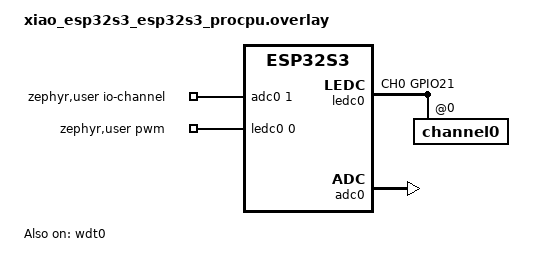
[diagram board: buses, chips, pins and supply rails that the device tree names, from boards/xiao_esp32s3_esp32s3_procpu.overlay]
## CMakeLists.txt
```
# SPDX-License-Identifier: Apache-2.0
cmake_minimum_required(VERSION 3.20.0)
find_package(Zephyr REQUIRED HINTS $ENV{ZEPHYR_BASE})
project(inputdemo)

target_sources(app PRIVATE src/main.c)
```

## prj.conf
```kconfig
# SPDX-License-Identifier: Apache-2.0
# inputdemo（单元 F：G3 + D4/D6 输入 demo）：ADC 真值 → input monitor 事件
# → APP mailbox 路由全链（无 WiFi/zenoh——本地判据）。
# 组合 = deploybench 通道面（PWM/ADC 真后端 + flash store + WAMR）+
# dsdbench 安装模式（内嵌包）+ input monitor 启动（G3）。
CONFIG_PRINTK=y
CONFIG_TS_CORE=y
CONFIG_TS_SAFETY=y
CONFIG_TS_HAL=y
CONFIG_TS_STORE=y
CONFIG_TS_APP_WAMR=y
CONFIG_TS_TEST=y
CONFIG_FLASH=y
CONFIG_FLASH_MAP=y
CONFIG_TS_STORE_FLASH=y
CONFIG_REBOOT=y

# 输入面（G3）：input monitor 周期轮询（sysworkq）
CONFIG_ADC=y

# PWM 真后端（dbpwm，D6 控制环输出；TS_DRV_* 自带驱动依赖 select）
CONFIG_TS_DRV_PWM=y
CONFIG_TS_DRV_ADC=y

# 看门狗（DEC-48 常设）
CONFIG_WATCHDOG=y
CONFIG_TASK_WDT_HW_FALLBACK=y
CONFIG_TASK_WDT_MIN_TIMEOUT=5000
CONFIG_TASK_WDT_HW_FALLBACK_DELAY=5000

CONFIG_MAIN_THREAD_PRIORITY=15
```

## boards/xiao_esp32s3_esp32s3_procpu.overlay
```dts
/*
 * inputdemo（单元 F：D4/D6 输入 demo）：ts-store flash 五分区（deploybench
 * 同款）+ esp32s3 硬件看门狗（DEC-48）+ ADC/PWM 真后端绑定（板级九模式：
 * ADC1 通道 1 = GPIO2 悬空拾噪 = 真值变化源；确定性轨到轨注入 = owner
 * 物理操作〔0V/3.3V，板级九 PB6 同型〕）。
 */

&wdt0 {
	status = "okay";
};

/ {
	chosen {
		zephyr,watchdog = &wdt0;
	};
};

&pinctrl {
	id_ledc0: id_ledc0 {
		group1 {
			pinmux = <LEDC_CH0_GPIO21>;
			output-enable;
		};
	};
};

&ledc0 {
	status = "okay";
	pinctrl-0 = <&id_ledc0>;
	pinctrl-names = "default";
	#address-cells = <1>;
	#size-cells = <0>;
	channel0@0 {
		reg = <0x0>;
		timer = <0>;
	};
};

&adc0 {
	status = "okay";
};

/delete-node/ &slot1_partition;

&flash0 {
	partitions {
		ts_prov_part: partition@170000 {
			compatible = "zephyr,mapped-partition";
			label = "ts-prov";
			reg = <0x170000 0x1000>;
		};
		ts_meta_part: partition@171000 {
			compatible = "zephyr,mapped-partition";
			label = "ts-meta";
			reg = <0x171000 0x2000>;
		};
		ts_slot_a_part: partition@173000 {
			compatible = "zephyr,mapped-partition";
			label = "ts-slot-a";
			reg = <0x173000 0x4000>;
		};
		ts_slot_b_part: partition@177000 {
			compatible = "zephyr,mapped-partition";
			label = "ts-slot-b";
			reg = <0x177000 0x4000>;
		};
		ts_noinit_part: partition@17b000 {
			compatible = "zephyr,mapped-partition";
			label = "ts-noinit";
			reg = <0x17b000 0x1000>;
		};
	};
};

/ {
	zephyr,user {
		pwm-uid = "dbpwm";
		pwms = <&ledc0 0 1000000 0>;
		adc-uid = "dbadc";
		io-channels = <&adc0 1>;
	};
};
```

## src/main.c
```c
/* SPDX-License-Identifier: Apache-2.0 */
/* inputdemo（单元 F）：G3 + D4/D6 输入 demo 真机载体——ADC 真值 → input
 * monitor（事件）→ APP mailbox 路由全链 + D6 滞回控制环（PWM 限幅）。
 * 流程：注册 dbpwm 通道（限幅 700‰）→ ADC 后端 init → input monitor 启动
 * （G3 事件源）→ 安装 D4 包 → boot 装载 → 观测线程等 D4-DONE → stop →
 * 安装 D6 包（slot 翻转）→ boot 装载 → D6 滞回控制环 → 观测 D6-DONE。
 * 判据（ID* 行 + [app1/l*] 行，真值源 = GPIO2 悬空拾噪；确定性轨到轨
 * 注入 = owner 物理操作〔0V/3.3V，板级九 PB6 同型〕）。 */
#include <string.h>
#include <zephyr/kernel.h>
#include <zephyr/sys/printk.h>
#include <ts/appmgr.h>
#include <ts/core.h>
#include <ts/hal.h>
#include <ts/safety.h>
#include <ts/store.h>

#include "d4_pkg.h"
#include "d6_pkg.h"

/* PWM 打包域（LLD-ts-hal §3）：高 16 = hz/100、低 16 = permille */
#define PWM_PACK(hz, pm) ((((hz) / 100U) << 16) | (pm))
static const ts_out_ch_t db_pwm = {
	.uid = "dbpwm", .kind = TS_CH_PWM,
	/* poweron = 300‰（G1 判据取非零特异值——落驱动前 LEDC 复位缺省 0） */
	.poweron = {.u = PWM_PACK(1000, 300)},
	.linkloss = {.u = PWM_PACK(1000, 0)},
	.fault = {.u = PWM_PACK(1000, 0)},
	.limits = {.min = PWM_PACK(1000, 0), .max = PWM_PACK(1000, 700),
		   .slew_per_ms = 0},
};
static const ts_hal_dev_desc_t db_pwm_dev = {
	.uid = "dbpwm", .kind = TS_DEV_PWM,
};
static const ts_hal_dev_desc_t db_adc_dev = {
	.uid = "dbadc", .kind = TS_DEV_ADC,
};

static const uint8_t root_pub[32]; /* TEST 语义 = 固定测试根 */

/* esp32s3 LEDC 寄存器直读（periphbench 同型——单元 G1 真机判据：
 * boot 步骤 2 后、set_link 前物理 duty 已 = 声明 poweron 值）。 */
#define LEDC_BASE 0x60019000U
#define LEDC_REG(off) (*(volatile uint32_t *)(LEDC_BASE + (off)))
#define LEDC_LSCH0_DUTY_R 0x10U
#define LEDC_LSTIMER0_CONF 0xA0U

static uint32_t duty_permille_hw(void)
{
	uint32_t res = LEDC_REG(LEDC_LSTIMER0_CONF) & 0xFU;
	uint32_t duty = LEDC_REG(LEDC_LSCH0_DUTY_R) & 0x7FFFFU;

	if (res == 0U) {
		return 0xFFFFFFFFU; /* 未配置哨兵 */
	}
	return duty * 1000U / ((1U << res) * 16U);
}

/* 装载观测：D4 → stop → D6（进程内换包 = TEST 放行路径）→ 终态 */
static void demo_watch(void *p1, void *p2, void *p3)
{
	ARG_UNUSED(p1);
	ARG_UNUSED(p2);
	ARG_UNUSED(p3);
	ts_app_info_t info;

	/* 阶段 1：D4（等 ACTIVE + 存活窗口——报告行由 APP 打） */
	for (int i = 0; i < 150; i++) {
		if (ts_appmgr_get_info(&info) == TS_OK &&
		    info.state == TS_APP_ACTIVE) {
			break;
		}
		k_msleep(200);
	}
	if (info.state != TS_APP_ACTIVE) {
		printk("ID FAIL no D4 ACTIVE\n");
		return;
	}
	printk("ID1 D4 ACTIVE app=%s\n", info.app_id);
	/* G1 真机判据：set_link 前 LEDC 物理 duty 已 = 声明 poweron（300‰ ±3
	 * 容差 = periphbench 同口径；改前此处 = 0——落驱动缺口的直接证据） */
	k_msleep(10); /* 低数通道装载相位 */
	{
		uint32_t hw = duty_permille_hw();

		printk("ID1a poweron-duty hw=%u‰ (want 300) %s\n", hw,
		       (hw != 0xFFFFFFFFU && hw + 3 >= 300 && hw <= 303) ?
		       "OK" : "MISMATCH");
	}
	/* 无网面部署：链路 ACTIVE 由 bench 显式声明（persistbench 同型——
	 * 无 zenoh 则 linkmon 永不置位，输出写恒 E_STATE）。 */
	(void)ts_safety_set_link(true);
	printk("ID1b link=ACTIVE（输出写放行）\n");
	k_sleep(K_SECONDS(12)); /* 悬空拾噪驱动报告/事件行 */

	printk("ID2 stop D4 r=%d\n", (int)ts_appmgr_app_stop());

	/* 阶段 2：D6（slot 翻转 → boot 装载 → 滞回控制环） */
	if (ts_appmgr_install(d6_pkg, sizeof(d6_pkg), root_pub, &info) != TS_OK) {
		printk("ID FAIL D6 install\n");
		return;
	}
	printk("ID3 D6 installed slot=%u\n", info.active_slot);
	if (ts_appmgr_boot_start() != TS_OK) {
		printk("ID FAIL D6 boot\n");
		return;
	}
	for (int i = 0; i < 150; i++) {
		if (ts_appmgr_get_info(&info) == TS_OK &&
		    info.state == TS_APP_ACTIVE) {
			break;
		}
		k_msleep(200);
	}
	if (info.state != TS_APP_ACTIVE) {
		printk("ID FAIL no D6 ACTIVE\n");
		return;
	}
	printk("ID4 D6 ACTIVE app=%s\n", info.app_id);
	k_sleep(K_SECONDS(12));

	for (int i = 0;; i++) {
		k_sleep(K_SECONDS(5));
		ts_appmgr_get_info(&info);
		printk("ID5 alive t=%u state=%d\n",
		       (unsigned)k_uptime_get_32(), (int)info.state);
	}
}
K_THREAD_DEFINE(demo_watch_tid, 8192, demo_watch, NULL, NULL, NULL, 13, 0, 0);

int main(void)
{
	printk("ID0 inputdemo（单元 F：G3 + D4/D6）\n");

	/* prov 先烧（estop 沿 prov 化读取 + ids；缺省 dev ids 即可） */
	ts_res_t lr = ts_store_prov_load();

	printk("ID0b prov load=%d（-8=空，缺省 ids）\n", (int)lr);

	if (ts_drv_pwm_init() != 0) {
		printk("ID FAIL pwm init\n");
		return 1;
	}
	if (ts_adc_drv_init() != 0) {
		printk("ID FAIL adc init\n");
		return 1;
	}
	(void)ts_safety_register_channel(&db_pwm);
	/* 注册序 = 实例号：ADC=0 / PWM=1（与 demo caps adc:read:0/pwm:set:1 对齐） */
	(void)ts_hal_register_dev(&db_adc_dev);
	(void)ts_hal_register_dev(&db_pwm_dev);
	if (ts_hal_input_start() != TS_OK) { /* G3：事件源启动 */
		printk("ID FAIL input start\n");
		return 1;
	}
	printk("ID0c pwm+adc+input ready\n");

	ts_app_info_t info;

	if (ts_appmgr_install(d4_pkg, sizeof(d4_pkg), root_pub, &info) != TS_OK) {
		printk("ID FAIL D4 install\n");
		return 1;
	}
	printk("ID0d D4 installed slot=%u\n", info.active_slot);
	ts_core_boot(); /* noreturn：步骤 8 装载 D4 */
	return 0;
}
```
